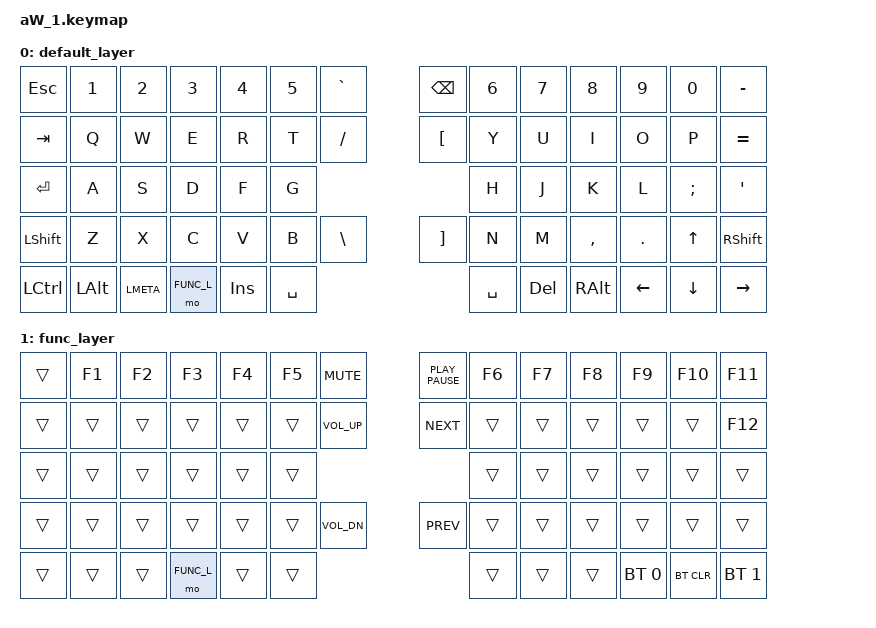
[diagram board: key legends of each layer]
/*
 * Copyright (c) 2020 The ZMK Contributors
 *
 * SPDX-License-Identifier: MIT
 */

#include <behaviors.dtsi>
#include <dt-bindings/zmk/keys.h>
#include <dt-bindings/zmk/bt.h>

#define FUNC_L 1

/ {
    keymap {
        compatible = "zmk,keymap";

        default_layer {
            bindings = <
                &kp ESC     &kp N1       &kp N2       &kp N3       &kp N4   &kp N5       &kp GRAV        &kp BSPC    &kp N6       &kp N7   &kp N8       &kp N9       &kp N0       &kp MINUS
                &kp TAB     &kp Q       &kp W       &kp E       &kp R   &kp T       &kp FSLH        &kp LBKT    &kp Y       &kp U   &kp I       &kp O       &kp P       &kp EQUAL
                &kp ENTER   &kp A       &kp S       &kp D       &kp F   &kp G                                   &kp H       &kp J   &kp K       &kp L       &kp SEMI    &kp APOS
                &kp LSHIFT  &kp Z       &kp X       &kp C       &kp V   &kp B       &kp BSLH        &kp RBKT    &kp N       &kp M   &kp COMMA   &kp DOT     &kp UP      &kp RSHIFT
                &kp LCTRL   &kp LALT    &kp LMETA   &mo FUNC_L  &kp INS &kp SPACE                               &kp SPACE   &kp DEL &kp RALT    &kp LEFT    &kp DOWN    &kp RIGHT
            >;
        };

        func_layer {
            bindings = <
                &trans  &kp F1  &kp F2  &kp F3      &kp F4  &kp F5  &kp K_MUTE          &kp K_PLAY_PAUSE    &kp F6      &kp F7  &kp F8  &kp F9          &kp F10     &kp F11
                &trans  &trans  &trans  &trans      &trans  &trans  &kp K_VOL_UP        &kp K_NEXT          &trans      &trans  &trans  &trans          &trans      &kp F12
                &trans  &trans  &trans  &trans      &trans  &trans                                          &trans      &trans  &trans  &trans          &trans      &trans
                &trans  &trans  &trans  &trans      &trans  &trans  &kp K_VOL_DN        &kp K_PREV          &trans      &trans  &trans  &trans          &trans      &trans
                &trans  &trans  &trans  &mo FUNC_L  &trans  &trans                                          &trans      &trans  &trans  &bt BT_SEL 0    &bt BT_CLR  &bt BT_SEL 1
            >;
        };
    };
};
